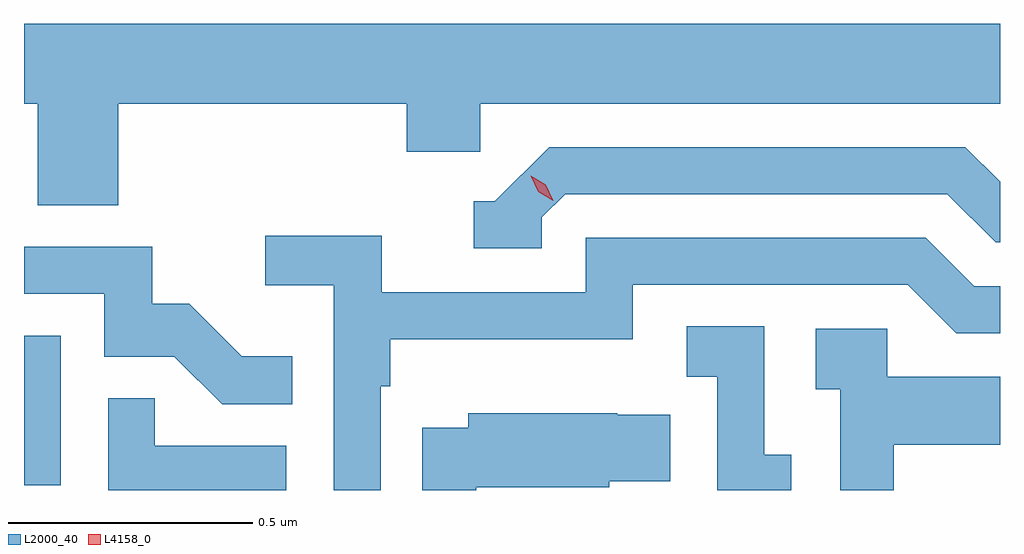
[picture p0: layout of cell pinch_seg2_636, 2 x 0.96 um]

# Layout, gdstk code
import gdstk
lib = gdstk.Library(unit=1e-6, precision=1e-09)
def R(c, l, rs):  # rectangles x0, y0, x1, y1
    for r in rs: c.add(gdstk.rectangle(r[:2], r[2:], *l))
def P(c, l, *ps):  # polygons
    for p in ps: c.add(gdstk.Polygon(p, *l))
L2000_40 = (2000, 40)
L4158_0 = (4158, 0)

pinch_seg2_636 = lib.new_cell('pinch_seg2_636')
R(pinch_seg2_636, L2000_40, [(1024.993,604.23,1025.068,604.537)])
P(pinch_seg2_636, L2000_40, [(1025.186,605.012),(1025.777,605.012),(1025.777,604.914),(1025.928,604.914),(1025.928,605.012),(1026.993,605.012),(1026.993,605.176),(1024.993,605.176),(1024.993,605.012),(1025.021,605.012),(1025.021,604.804),(1025.186,604.804)],
  [(1026.054,604.779),(1026.102,604.827),(1026.885,604.827),(1026.984,604.728),(1026.993,604.728),(1026.993,604.852),(1026.922,604.923),(1026.069,604.923),(1025.958,604.812),(1025.915,604.812),(1025.915,604.716),(1026.054,604.716)],
  [(1025.724,604.433),(1025.744,604.433),(1025.744,604.529),(1026.24,604.529),(1026.24,604.641),(1026.804,604.641),(1026.903,604.542),(1026.993,604.542),(1026.993,604.638),(1026.94,604.638),(1026.841,604.737),(1026.144,604.737),(1026.144,604.626),(1025.726,604.626),(1025.726,604.742),(1025.487,604.742),(1025.487,604.64),(1025.628,604.64),(1025.628,604.22),(1025.724,604.22)],
  [(1025.543,604.495),(1025.439,604.495),(1025.332,604.602),(1025.256,604.602),(1025.256,604.719),(1024.993,604.719),(1024.993,604.623),(1025.157,604.623),(1025.157,604.494),(1025.301,604.494),(1025.399,604.396),(1025.543,604.396)],
  [(1026.565,604.293),(1026.51,604.293),(1026.51,604.556),(1026.351,604.556),(1026.351,604.453),(1026.414,604.453),(1026.414,604.22),(1026.565,604.22)],
  [(1026.775,604.313),(1026.993,604.313),(1026.993,604.453),(1026.762,604.453),(1026.762,604.551),(1026.615,604.551),(1026.615,604.427),(1026.666,604.427),(1026.666,604.22),(1026.775,604.22)],
  [(1025.53,604.311),(1025.261,604.311),(1025.261,604.409),(1025.166,604.409),(1025.166,604.22),(1025.53,604.22)],
  [(1025.92,604.226),(1026.192,604.226),(1026.192,604.238),(1026.317,604.238),(1026.317,604.375),(1026.209,604.375),(1026.209,604.378),(1025.903,604.378),(1025.903,604.348),(1025.809,604.348),(1025.809,604.22),(1025.92,604.22)])
P(pinch_seg2_636, L4158_0, [(1026.078,604.813),(1026.047,604.832),(1026.031,604.865),(1026.031,604.865),(1026.031,604.865),(1026.062,604.846),(1026.078,604.813),(1026.078,604.813)])

lib.write_gds('pinch_seg2_636.gds')
